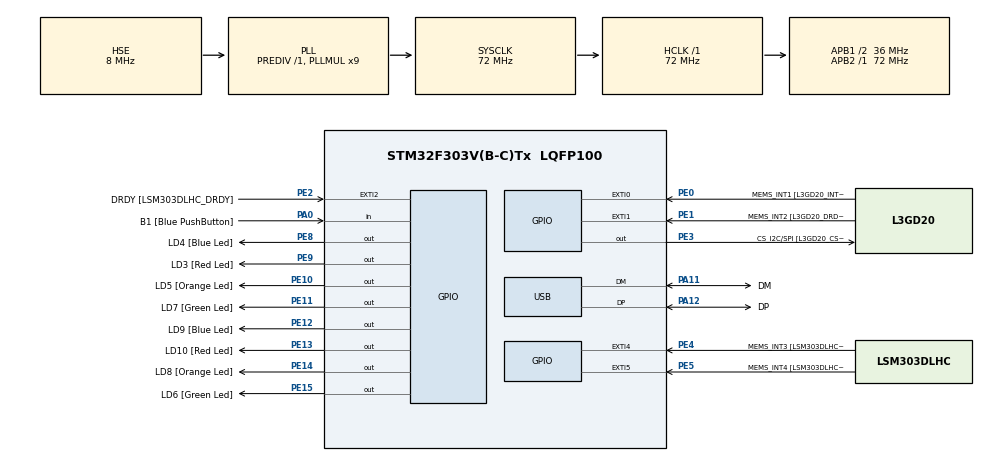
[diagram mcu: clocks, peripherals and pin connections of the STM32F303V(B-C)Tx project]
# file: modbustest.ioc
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FREERTOS.Tasks01=defaultTask,0,128,StartDefaultTask,Default,NULL
Mcu.Family=STM32F3
Mcu.Name=STM32F303V(B-C)Tx
Mcu.Package=LQFP100
NVIC.PriorityGroup=NVIC_PRIORITYGROUP_4
NVIC.USB_LP_CAN_RX0_IRQn=true\:5\:0\:false\:false\:true\:true
PA0.GPIO_Label=B1 [Blue PushButton]
PA0.GPIO_Mode=GPIO_MODE_INPUT
PA0.GPIO_PuPd=GPIO_NOPULL
PA0.Signal=GPIO_Input
PA11.GPIO_Label=DM
PA11.Mode=Device
PA11.Signal=USB_DM
PA12.GPIO_Label=DP
PA12.Mode=Device
PA12.Signal=USB_DP
PA13.GPIO_Label=SWDIO
PA13.Signal=SYS_JTMS-SWDIO
PA14.GPIO_Label=SWCLK
PA14.Signal=SYS_JTCK-SWCLK
PA5.GPIO_Label=SPI1_SCK [L3GD20_SCL/SPC]
PA5.GPIO_Mode=GPIO_MODE_AF_PP
PA5.GPIO_PuPd=GPIO_NOPULL
PA5.GPIO_Speed=GPIO_SPEED_FREQ_LOW
PA5.Signal=SPI1_SCK
PA6.GPIO_Label=SPI1_MISO [L3GD20_SA0/SDO]
PA6.GPIO_Mode=GPIO_MODE_AF_PP
PA6.GPIO_PuPd=GPIO_NOPULL
PA6.GPIO_Speed=GPIO_SPEED_FREQ_LOW
PA6.Signal=SPI1_MISO
PA7.GPIO_Label=SPI1_MISO [L3GD20_SDA/SDI/SDO]
PA7.GPIO_Mode=GPIO_MODE_AF_PP
PA7.GPIO_PuPd=GPIO_NOPULL
PA7.GPIO_Speed=GPIO_SPEED_FREQ_LOW
PA7.Signal=SPI1_MOSI
PB3.GPIO_Label=SWO
PB3.Signal=SYS_JTDO-TRACESWO
PB6.GPIO_FM6=__NULL
PB6.GPIO_Label=I2C1_SCL [LSM303DLHC_SCL]
PB6.GPIO_Mode=GPIO_MODE_AF_OD
PB6.GPIO_PuPd=GPIO_NOPULL
PB6.GPIO_Speed=GPIO_SPEED_FREQ_LOW
PB6.Signal=I2C1_SCL
PB7.GPIO_FM7=__NULL
PB7.GPIO_Label=I2C1_SDA [LSM303DLHC_SDA]
PB7.GPIO_Mode=GPIO_MODE_AF_OD
PB7.GPIO_PuPd=GPIO_NOPULL
PB7.GPIO_Speed=GPIO_SPEED_FREQ_LOW
PB7.Signal=I2C1_SDA
PC14-OSC32_IN.GPIO_Label=OSC32_IN
PC14-OSC32_IN.Signal=RCC_OSC32_IN
PC15-OSC32_OUT.GPIO_Label=OSC32_OUT
PC15-OSC32_OUT.Signal=RCC_OSC32_OUT
PE0.GPIO_Label=MEMS_INT1 [L3GD20_INT1]
PE0.GPIO_ModeDefaultEXTI=GPIO_MODE_EVT_RISING
PE0.GPIO_PuPd=GPIO_NOPULL
PE0.Signal=GPXTI0
PE1.GPIO_Label=MEMS_INT2 [L3GD20_DRDY/INT2]
PE1.GPIO_ModeDefaultEXTI=GPIO_MODE_EVT_RISING
PE1.GPIO_PuPd=GPIO_NOPULL
PE1.Signal=GPXTI1
PE10.GPIO_Label=LD5 [Orange Led]
PE10.GPIO_ModeDefaultOutputPP=GPIO_MODE_OUTPUT_PP
PE10.GPIO_PuPd=GPIO_NOPULL
PE10.GPIO_Speed=GPIO_SPEED_FREQ_LOW
PE10.Signal=GPIO_Output
PE11.GPIO_Label=LD7 [Green Led]
PE11.GPIO_ModeDefaultOutputPP=GPIO_MODE_OUTPUT_PP
PE11.GPIO_PuPd=GPIO_NOPULL
PE11.GPIO_Speed=GPIO_SPEED_FREQ_LOW
PE11.Signal=GPIO_Output
PE12.GPIO_Label=LD9 [Blue Led]
PE12.GPIO_ModeDefaultOutputPP=GPIO_MODE_OUTPUT_PP
PE12.GPIO_PuPd=GPIO_NOPULL
PE12.GPIO_Speed=GPIO_SPEED_FREQ_LOW
PE12.Signal=GPIO_Output
PE13.GPIO_Label=LD10 [Red Led]
PE13.GPIO_ModeDefaultOutputPP=GPIO_MODE_OUTPUT_PP
PE13.GPIO_PuPd=GPIO_NOPULL
PE13.GPIO_Speed=GPIO_SPEED_FREQ_LOW
PE13.Signal=GPIO_Output
PE14.GPIO_Label=LD8 [Orange Led]
PE14.GPIO_ModeDefaultOutputPP=GPIO_MODE_OUTPUT_PP
PE14.GPIO_PuPd=GPIO_NOPULL
PE14.GPIO_Speed=GPIO_SPEED_FREQ_LOW
PE14.Signal=GPIO_Output
PE15.GPIO_Label=LD6 [Green Led]
PE15.GPIO_ModeDefaultOutputPP=GPIO_MODE_OUTPUT_PP
PE15.GPIO_PuPd=GPIO_NOPULL
PE15.GPIO_Speed=GPIO_SPEED_FREQ_LOW
PE15.Signal=GPIO_Output
PE2.GPIO_Label=DRDY [LSM303DLHC_DRDY]
PE2.GPIO_ModeDefaultEXTI=GPIO_MODE_EVT_RISING
PE2.GPIO_PuPd=GPIO_NOPULL
PE2.Signal=GPXTI2
PE3.GPIO_Label=CS_I2C/SPI [L3GD20_CS_I2C/SPI]
PE3.GPIO_ModeDefaultOutputPP=GPIO_MODE_OUTPUT_PP
PE3.GPIO_PuPd=GPIO_NOPULL
PE3.GPIO_Speed=GPIO_SPEED_FREQ_LOW
PE3.Signal=GPIO_Output
PE4.GPIO_Label=MEMS_INT3 [LSM303DLHC_INT1]
PE4.GPIO_ModeDefaultEXTI=GPIO_MODE_EVT_RISING
PE4.GPIO_PuPd=GPIO_NOPULL
PE4.Signal=GPXTI4
PE5.GPIO_Label=MEMS_INT4 [LSM303DLHC_INT2]
PE5.GPIO_ModeDefaultEXTI=GPIO_MODE_EVT_RISING
PE5.GPIO_PuPd=GPIO_NOPULL
PE5.Signal=GPXTI5
PE8.GPIO_Label=LD4 [Blue Led]
PE8.GPIO_ModeDefaultOutputPP=GPIO_MODE_OUTPUT_PP
PE8.GPIO_PuPd=GPIO_NOPULL
PE8.GPIO_Speed=GPIO_SPEED_FREQ_LOW
PE8.Signal=GPIO_Output
PE9.GPIO_Label=LD3 [Red Led]
PE9.GPIO_ModeDefaultOutputPP=GPIO_MODE_OUTPUT_PP
PE9.GPIO_PuPd=GPIO_NOPULL
PE9.GPIO_Speed=GPIO_SPEED_FREQ_LOW
PE9.Signal=GPIO_Output
PF0-OSC_IN.GPIO_Label=OSC_IN
PF0-OSC_IN.Mode=HSE-External-Oscillator
PF0-OSC_IN.Signal=RCC_OSC_IN
PF1-OSC_OUT.GPIO_Label=OSC_OUT
PF1-OSC_OUT.Mode=HSE-External-Oscillator
PF1-OSC_OUT.Signal=RCC_OSC_OUT
ProjectManager.HeapSize=0x200
ProjectManager.StackSize=0x400
ProjectManager.TargetToolchain=MDK-ARM V5
RCC.AHBFreq_Value=72000000
RCC.APB1CLKDivider=RCC_HCLK_DIV2
RCC.APB1Freq_Value=36000000
RCC.APB1TimFreq_Value=72000000
RCC.APB2Freq_Value=72000000
RCC.APB2TimFreq_Value=72000000
RCC.CortexFreq_Value=72000000
RCC.HCLKFreq_Value=72000000
RCC.HSE_VALUE=8000000
RCC.HSIState=RCC_HSI_ON
RCC.HSI_VALUE=8000000
RCC.LSE_VALUE=32768
RCC.PLLMUL=RCC_PLL_MUL9
RCC.PRESCALERUSB=RCC_USBCLKSOURCE_PLL_DIV1_5
RCC.SYSCLKFreq_VALUE=72000000
RCC.SYSCLKSourceVirtual=RCC_SYSCLKSOURCE_PLLCLK
RCC.USBFreq_Value=48000000
USB_DEVICE.CLASS_NAME_FS=CDC
USB_DEVICE.VirtualModeFS=Cdc_FS
VP_FREERTOS_VS_ENABLE.Mode=Enabled
VP_USB_DEVICE_VS_USB_DEVICE_CDC_FS.Mode=CDC_FS
board=STM32F3DISCOVERY

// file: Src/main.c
/**
  ******************************************************************************
  * File Name          : main.c
  * Description        : Main program body
  ******************************************************************************
  *
  * Copyright (c) 2017 STMicroelectronics International N.V.
  * All rights reserved.
  *
  * Redistribution and use in source and binary forms, with or without
  * modification, are permitted, provided that the following conditions are met:
  *
  * 1. Redistribution of source code must retain the above copyright notice,
  *    this list of conditions and the following disclaimer.
  * 2. Redistributions in binary form must reproduce the above copyright notice,
  *    this list of conditions and the following disclaimer in the documentation
  *    and/or other materials provided with the distribution.
  * 3. Neither the name of STMicroelectronics nor the names of other
  *    contributors to this software may be used to endorse or promote products
  *    derived from this software without specific written permission.
  * 4. This software, including modifications and/or derivative works of this
  *    software, must execute solely and exclusively on microcontroller or
  *    microprocessor devices manufactured by or for STMicroelectronics.
  * 5. Redistribution and use of this software other than as permitted under
  *    this license is void and will automatically terminate your rights under
  *    this license.
  *
  * THIS SOFTWARE IS PROVIDED BY STMICROELECTRONICS AND CONTRIBUTORS "AS IS"
  * AND ANY EXPRESS, IMPLIED OR STATUTORY WARRANTIES, INCLUDING, BUT NOT
  * LIMITED TO, THE IMPLIED WARRANTIES OF MERCHANTABILITY, FITNESS FOR A
  * PARTICULAR PURPOSE AND NON-INFRINGEMENT OF THIRD PARTY INTELLECTUAL PROPERTY
  * RIGHTS ARE DISCLAIMED TO THE FULLEST EXTENT PERMITTED BY LAW. IN NO EVENT
  * SHALL STMICROELECTRONICS OR CONTRIBUTORS BE LIABLE FOR ANY DIRECT, INDIRECT,
  * INCIDENTAL, SPECIAL, EXEMPLARY, OR CONSEQUENTIAL DAMAGES (INCLUDING, BUT NOT
  * LIMITED TO, PROCUREMENT OF SUBSTITUTE GOODS OR SERVICES; LOSS OF USE, DATA,
  * OR PROFITS; OR BUSINESS INTERRUPTION) HOWEVER CAUSED AND ON ANY THEORY OF
  * LIABILITY, WHETHER IN CONTRACT, STRICT LIABILITY, OR TORT (INCLUDING
  * NEGLIGENCE OR OTHERWISE) ARISING IN ANY WAY OUT OF THE USE OF THIS SOFTWARE,
  * EVEN IF ADVISED OF THE POSSIBILITY OF SUCH DAMAGE.
  *
  ******************************************************************************
  */
#include "main.h"
#include "stm32f3xx_hal.h"
#include "cmsis_os.h"
#include "usb_device.h"
#include "gpio.h"

/* USER CODE BEGIN Includes */
#include "..\modbus\modbus.h"
/* USER CODE END Includes */

/* USER CODE BEGIN PV */
/* Private variables ---------------------------------------------------------*/

/* USER CODE END PV */

void SystemClock_Config(void);
void Error_Handler(void);
void MX_FREERTOS_Init(void);

/* USER CODE BEGIN PFP */
/* Private function prototypes -----------------------------------------------*/

/* USER CODE END PFP */

int main(void)
{

  /* MCU Configuration----------------------------------------------------------*/

  /* Reset of all peripherals, Initializes the Flash interface and the Systick. */
  HAL_Init();

  /* Configure the system clock */
  SystemClock_Config();

  /* Initialize all configured peripherals */
  MX_GPIO_Init();

  /* USER CODE BEGIN 2 */
  ModBus_Init();
  ModBus_SetAddress(1);

  /* USER CODE END 2 */

  /* Call init function for freertos objects (in freertos.c) */
  MX_FREERTOS_Init();

  /* Start scheduler */
  osKernelStart();

  /* We should never get here as control is now taken by the scheduler */

  /* Infinite loop */
  while (1)
  {

  }

}

/** System Clock Configuration
*/
void SystemClock_Config(void)
{

  RCC_OscInitTypeDef RCC_OscInitStruct;
  RCC_ClkInitTypeDef RCC_ClkInitStruct;
  RCC_PeriphCLKInitTypeDef PeriphClkInit;

    /**Initializes the CPU, AHB and APB busses clocks
    */
  RCC_OscInitStruct.OscillatorType = RCC_OSCILLATORTYPE_HSE;
  RCC_OscInitStruct.HSEState = RCC_HSE_ON;
  RCC_OscInitStruct.HSEPredivValue = RCC_HSE_PREDIV_DIV1;
  RCC_OscInitStruct.HSIState = RCC_HSI_ON;
  RCC_OscInitStruct.PLL.PLLState = RCC_PLL_ON;
  RCC_OscInitStruct.PLL.PLLSource = RCC_PLLSOURCE_HSE;
  RCC_OscInitStruct.PLL.PLLMUL = RCC_PLL_MUL9;
  if (HAL_RCC_OscConfig(&RCC_OscInitStruct) != HAL_OK)
  {
    Error_Handler();
  }

    /**Initializes the CPU, AHB and APB busses clocks
    */
  RCC_ClkInitStruct.ClockType = RCC_CLOCKTYPE_HCLK|RCC_CLOCKTYPE_SYSCLK
                              |RCC_CLOCKTYPE_PCLK1|RCC_CLOCKTYPE_PCLK2;
  RCC_ClkInitStruct.SYSCLKSource = RCC_SYSCLKSOURCE_PLLCLK;
  RCC_ClkInitStruct.AHBCLKDivider = RCC_SYSCLK_DIV1;
  RCC_ClkInitStruct.APB1CLKDivider = RCC_HCLK_DIV2;
  RCC_ClkInitStruct.APB2CLKDivider = RCC_HCLK_DIV1;

  if (HAL_RCC_ClockConfig(&RCC_ClkInitStruct, FLASH_LATENCY_2) != HAL_OK)
  {
    Error_Handler();
  }

  PeriphClkInit.PeriphClockSelection = RCC_PERIPHCLK_USB;
  PeriphClkInit.USBClockSelection = RCC_USBCLKSOURCE_PLL_DIV1_5;
  if (HAL_RCCEx_PeriphCLKConfig(&PeriphClkInit) != HAL_OK)
  {
    Error_Handler();
  }

    /**Configure the Systick interrupt time
    */
  HAL_SYSTICK_Config(HAL_RCC_GetHCLKFreq()/1000);

    /**Configure the Systick
    */
  HAL_SYSTICK_CLKSourceConfig(SYSTICK_CLKSOURCE_HCLK);

  /* SysTick_IRQn interrupt configuration */
  HAL_NVIC_SetPriority(SysTick_IRQn, 15, 0);
}

void Error_Handler(void)
{
  while(1)
  {
  }
}

/************************ (C) COPYRIGHT STMicroelectronics *****END OF FILE****/

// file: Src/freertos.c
/**
  ******************************************************************************
  * File Name          : freertos.c
  * Description        : Code for freertos applications
  ******************************************************************************
  *
  * Copyright (c) 2017 STMicroelectronics International N.V.
  * All rights reserved.
  *
  * Redistribution and use in source and binary forms, with or without
  * modification, are permitted, provided that the following conditions are met:
  *
  * 1. Redistribution of source code must retain the above copyright notice,
  *    this list of conditions and the following disclaimer.
  * 2. Redistributions in binary form must reproduce the above copyright notice,
  *    this list of conditions and the following disclaimer in the documentation
  *    and/or other materials provided with the distribution.
  * 3. Neither the name of STMicroelectronics nor the names of other
  *    contributors to this software may be used to endorse or promote products
  *    derived from this software without specific written permission.
  * 4. This software, including modifications and/or derivative works of this
  *    software, must execute solely and exclusively on microcontroller or
  *    microprocessor devices manufactured by or for STMicroelectronics.
  * 5. Redistribution and use of this software other than as permitted under
  *    this license is void and will automatically terminate your rights under
  *    this license.
  *
  * THIS SOFTWARE IS PROVIDED BY STMICROELECTRONICS AND CONTRIBUTORS "AS IS"
  * AND ANY EXPRESS, IMPLIED OR STATUTORY WARRANTIES, INCLUDING, BUT NOT
  * LIMITED TO, THE IMPLIED WARRANTIES OF MERCHANTABILITY, FITNESS FOR A
  * PARTICULAR PURPOSE AND NON-INFRINGEMENT OF THIRD PARTY INTELLECTUAL PROPERTY
  * RIGHTS ARE DISCLAIMED TO THE FULLEST EXTENT PERMITTED BY LAW. IN NO EVENT
  * SHALL STMICROELECTRONICS OR CONTRIBUTORS BE LIABLE FOR ANY DIRECT, INDIRECT,
  * INCIDENTAL, SPECIAL, EXEMPLARY, OR CONSEQUENTIAL DAMAGES (INCLUDING, BUT NOT
  * LIMITED TO, PROCUREMENT OF SUBSTITUTE GOODS OR SERVICES; LOSS OF USE, DATA,
  * OR PROFITS; OR BUSINESS INTERRUPTION) HOWEVER CAUSED AND ON ANY THEORY OF
  * LIABILITY, WHETHER IN CONTRACT, STRICT LIABILITY, OR TORT (INCLUDING
  * NEGLIGENCE OR OTHERWISE) ARISING IN ANY WAY OUT OF THE USE OF THIS SOFTWARE,
  * EVEN IF ADVISED OF THE POSSIBILITY OF SUCH DAMAGE.
  *
  ******************************************************************************
  */

#include "FreeRTOS.h"
#include "task.h"
#include "cmsis_os.h"

/* USER CODE BEGIN Includes */
#include "gpio.h"
#include "usbd_cdc_if.h"
#include "..\modbus\modbus.h"

/* USER CODE END Includes */

osThreadId defaultTaskHandle;

void StartDefaultTask(void const * argument);

extern void MX_USB_DEVICE_Init(void);
void MX_FREERTOS_Init(void); /* (MISRA C 2004 rule 8.1) */

/* Hook prototypes */

/* Init FreeRTOS */

void MX_FREERTOS_Init(void) {

  /* Create the thread(s) */
  /* definition and creation of defaultTask */
  osThreadDef(defaultTask, StartDefaultTask, osPriorityNormal, 0, 128);
  defaultTaskHandle = osThreadCreate(osThread(defaultTask), NULL);

}

/* StartDefaultTask function */
void StartDefaultTask(void const * argument)
{
  /* init code for USB_DEVICE */
  MX_USB_DEVICE_Init();

  /* USER CODE BEGIN StartDefaultTask */
  /* Infinite loop */
  uint8_t buf[256]; // buffer, where we collect output data
  uint8_t c = 0; // counter for buffer fill

  for(;;)
  {
    osEvent evt = osMessageGet(ModBusOutHandle,200); // wait here 200 tick
    if (evt.status == osEventMessage)
      {
        buf[c++]=(uint8_t) evt.value.v;
      }
    if (evt.status == osEventTimeout)
      {
        if( (c > 0) && (c < 254) ) // ok, something in buffer exist, lets send it
        {
          CDC_Transmit_FS(&buf[0], c); // by USB-CDC
        }
      c=0;
      }
    if(HAL_GPIO_ReadPin(GPIOA, GPIO_PIN_0) == GPIO_PIN_SET)
    {
      ModBus_SetRegister(1,1);
      ModBus_SetRegister(0,0);
    }
    else
    {
      ModBus_SetRegister(1,0);
    }
    // simple indicator "We alive"
    HAL_GPIO_TogglePin(GPIOE, GPIO_PIN_8);
    uint16_t count;
    count = ModBus_GetRegister(0);
    ModBus_SetRegister(0,count+1);
  }
  /* USER CODE END StartDefaultTask */
}

/************************ (C) COPYRIGHT STMicroelectronics *****END OF FILE****/
